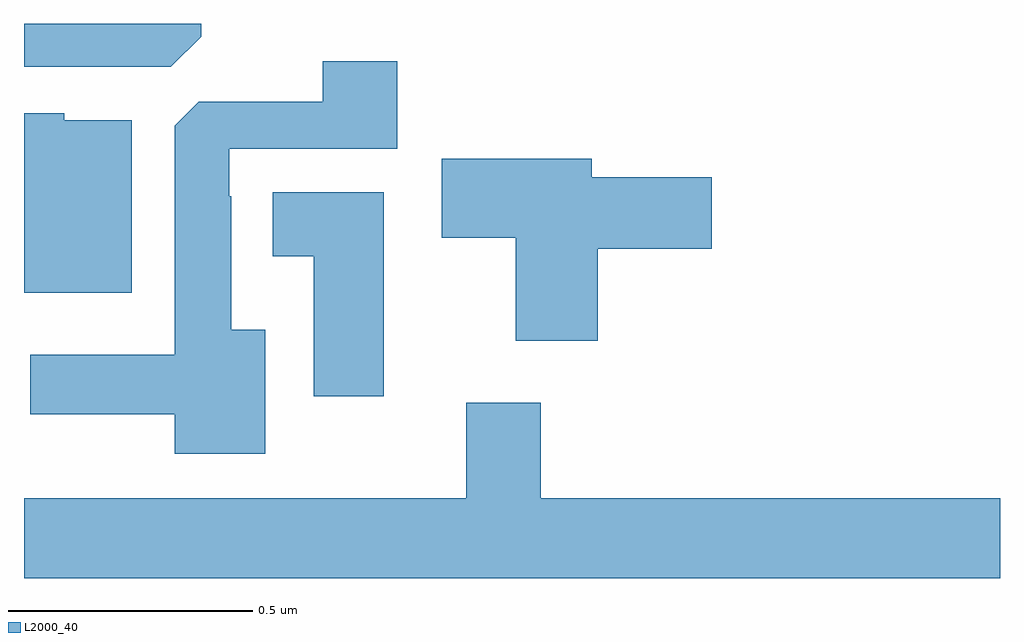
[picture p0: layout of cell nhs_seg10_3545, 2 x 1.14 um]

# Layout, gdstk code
import gdstk
lib = gdstk.Library(unit=1e-6, precision=1e-09)
def P(c, l, *ps):  # polygons
    for p in ps: c.add(gdstk.Polygon(p, *l))
L2000_40 = (2000, 40)

nhs_seg10_3545 = lib.new_cell('nhs_seg10_3545')
P(nhs_seg10_3545, L2000_40, [(155.363,1253.474),(155.363,1253.5),(155,1253.5),(155,1253.412),(155.301,1253.412)],
  [(155.494,1252.873),(155.425,1252.873),(155.425,1253.147),(155.421,1253.147),(155.421,1253.244),(155.765,1253.244),(155.765,1253.423),(155.612,1253.423),(155.612,1253.34),(155.358,1253.34),(155.309,1253.291),(155.309,1252.822),(155.013,1252.822),(155.013,1252.7),(155.309,1252.7),(155.309,1252.619),(155.494,1252.619)],
  [(155.221,1253.302),(155.082,1253.302),(155.082,1253.317),(155,1253.317),(155,1252.949),(155.221,1252.949)],
  [(156.176,1253.039),(156.409,1253.039),(156.409,1253.186),(156.163,1253.186),(156.163,1253.224),(155.856,1253.224),(155.856,1253.062),(156.008,1253.062),(156.008,1252.851),(156.176,1252.851)],
  [(155.737,1253.155),(155.51,1253.155),(155.51,1253.024),(155.594,1253.024),(155.594,1252.737),(155.737,1252.737)],
  [(157,1252.528),(156.059,1252.528),(156.059,1252.723),(155.906,1252.723),(155.906,1252.528),(155,1252.528),(155,1252.364),(157,1252.364)])

lib.write_gds('nhs_seg10_3545.gds')
